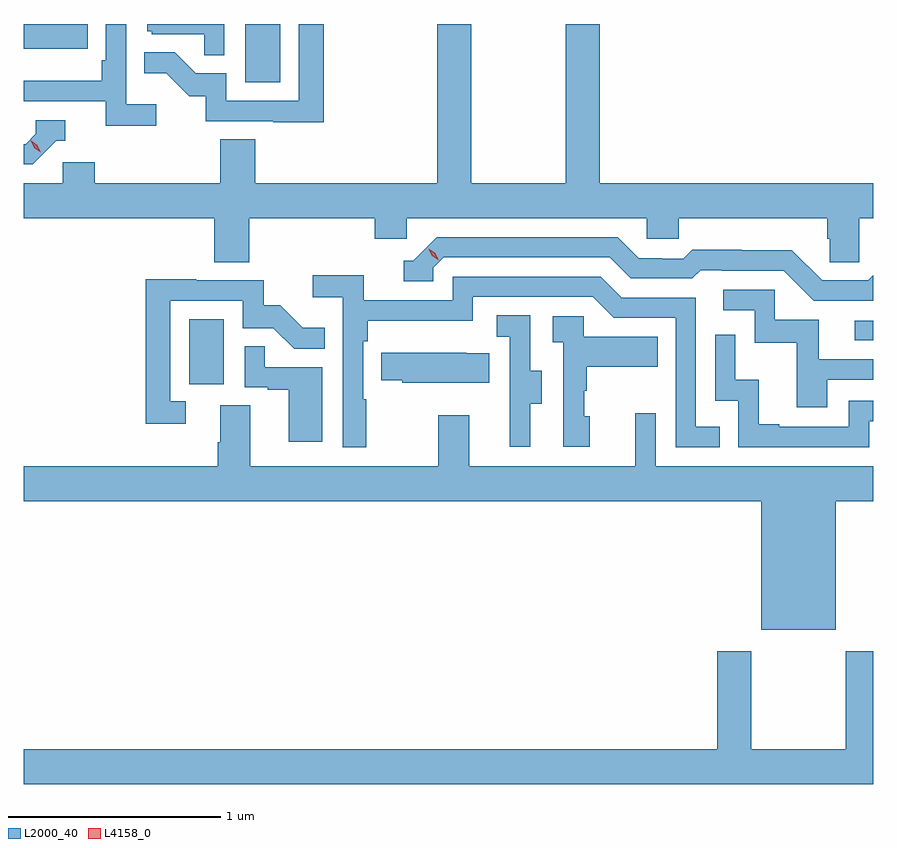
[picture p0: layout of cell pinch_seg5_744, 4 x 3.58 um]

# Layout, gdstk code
import gdstk
lib = gdstk.Library(unit=1e-6, precision=1e-09)
def R(c, l, rs):  # rectangles x0, y0, x1, y1
    for r in rs: c.add(gdstk.rectangle(r[:2], r[2:], *l))
def P(c, l, *ps):  # polygons
    for p in ps: c.add(gdstk.Polygon(p, *l))
L2000_40 = (2000, 40)
L4158_0 = (4158, 0)

pinch_seg5_744 = lib.new_cell('pinch_seg5_744')
R(pinch_seg5_744, L2000_40, [(880.826,913.254,880.99,913.561), (883.959,913.461,884.047,913.554), (881.09,914.676,881.254,914.95), (880.047,914.834,880.349,914.95)])
P(pinch_seg5_744, L2000_40, [(880.672,914.572),(880.53,914.572),(880.53,914.95),(880.434,914.95),(880.434,914.779),(880.414,914.779),(880.414,914.683),(880.047,914.683),(880.047,914.586),(880.433,914.586),(880.433,914.47),(880.672,914.47)],
  [(880.992,914.95),(880.628,914.95),(880.628,914.916),(880.65,914.916),(880.65,914.901),(880.897,914.901),(880.897,914.803),(880.992,914.803)],
  [(881.459,914.95),(881.343,914.95),(881.343,914.589),(881.001,914.589),(881.001,914.718),(880.857,914.718),(880.759,914.816),(880.615,914.816),(880.615,914.717),(880.719,914.717),(880.826,914.61),(880.903,914.61),(880.903,914.493),(881.221,914.493),(881.221,914.488),(881.459,914.488)],
  [(880.943,913.828),(881.108,913.828),(881.108,914.036),(881.699,914.036),(881.699,913.938),(881.85,913.938),(881.85,914.036),(882.981,914.036),(882.981,913.938),(883.131,913.938),(883.131,914.036),(883.829,914.036),(883.829,913.938),(883.843,913.938),(883.843,913.828),(883.98,913.828),(883.98,914.036),(884.047,914.036),(884.047,914.2),(882.758,914.2),(882.758,914.95),(882.598,914.95),(882.598,914.2),(882.153,914.2),(882.153,914.95),(881.993,914.95),(881.993,914.2),(881.138,914.2),(881.138,914.408),(880.973,914.408),(880.973,914.2),(880.382,914.2),(880.382,914.298),(880.23,914.298),(880.23,914.2),(880.047,914.2),(880.047,914.036),(880.943,914.036)],
  [(880.2,914.4),(880.243,914.4),(880.243,914.496),(880.104,914.496),(880.104,914.433),(880.056,914.385),(880.047,914.385),(880.047,914.289),(880.089,914.289)],
  [(884.047,913.768),(884.022,913.743),(883.806,913.743),(883.664,913.885),(883.428,913.885),(883.428,913.888),(883.195,913.888),(883.153,913.845),(883.05,913.845),(883.05,913.848),(882.943,913.848),(882.844,913.947),(881.991,913.947),(881.88,913.836),(881.837,913.836),(881.837,913.74),(881.976,913.74),(881.976,913.803),(882.024,913.851),(882.807,913.851),(882.906,913.752),(883.195,913.752),(883.234,913.791),(883.333,913.791),(883.333,913.788),(883.626,913.788),(883.767,913.647),(884.047,913.647)],
  [(881.659,913.184),(881.646,913.184),(881.646,913.457),(881.666,913.457),(881.666,913.553),(882.162,913.553),(882.162,913.665),(882.726,913.665),(882.825,913.566),(883.116,913.566),(883.116,912.957),(883.325,912.957),(883.325,913.053),(883.212,913.053),(883.212,913.662),(882.862,913.662),(882.763,913.761),(882.066,913.761),(882.066,913.65),(881.648,913.65),(881.648,913.766),(881.409,913.766),(881.409,913.664),(881.55,913.664),(881.55,912.957),(881.659,912.957)],
  [(880.81,913.173),(880.737,913.173),(880.737,913.647),(881.079,913.647),(881.079,913.518),(881.223,913.518),(881.321,913.42),(881.465,913.42),(881.465,913.519),(881.361,913.519),(881.254,913.626),(881.178,913.626),(881.178,913.743),(880.859,913.743),(880.859,913.748),(880.621,913.748),(880.621,913.068),(880.81,913.068)],
  [(883.831,913.275),(884.047,913.275),(884.047,913.371),(883.789,913.371),(883.789,913.557),(883.584,913.557),(883.584,913.698),(883.341,913.698),(883.341,913.602),(883.488,913.602),(883.488,913.449),(883.687,913.449),(883.687,913.146),(883.831,913.146)],
  [(882.433,913.162),(882.487,913.162),(882.487,913.317),(882.432,913.317),(882.432,913.58),(882.273,913.58),(882.273,913.477),(882.336,913.477),(882.336,913.173),(882.335,913.173),(882.335,912.96),(882.433,912.96)],
  [(882.712,913.104),(882.687,913.104),(882.687,913.223),(882.697,913.223),(882.697,913.337),(883.031,913.337),(883.031,913.477),(882.684,913.477),(882.684,913.575),(882.537,913.575),(882.537,913.451),(882.588,913.451),(882.588,912.96),(882.712,912.96)],
  [(884.028,913.08),(884.047,913.08),(884.047,913.176),(883.932,913.176),(883.932,913.053),(883.603,913.053),(883.603,913.066),(883.508,913.066),(883.508,913.274),(883.398,913.274),(883.398,913.486),(883.302,913.486),(883.302,913.176),(883.41,913.176),(883.41,912.957),(884.028,912.957)],
  [(881.452,913.335),(881.183,913.335),(881.183,913.433),(881.088,913.433),(881.088,913.239),(881.195,913.239),(881.195,913.227),(881.294,913.227),(881.294,912.984),(881.452,912.984)],
  [(882.239,913.399),(882.131,913.399),(882.131,913.402),(881.731,913.402),(881.731,913.273),(881.829,913.273),(881.829,913.262),(882.239,913.262)],
  [(883.87,912.704),(884.047,912.704),(884.047,912.868),(883.023,912.868),(883.023,913.117),(882.926,913.117),(882.926,912.868),(882.145,912.868),(882.145,913.108),(881.998,913.108),(881.998,912.868),(881.113,912.868),(881.113,913.154),(880.973,913.154),(880.973,912.98),(880.961,912.98),(880.961,912.868),(880.047,912.868),(880.047,912.704),(883.52,912.704),(883.52,912.098),(883.87,912.098)],
  [(884.047,911.998),(883.918,911.998),(883.918,911.536),(883.473,911.536),(883.473,911.998),(883.313,911.998),(883.313,911.536),(880.047,911.536),(880.047,911.372),(884.047,911.372)])
P(pinch_seg5_744, L4158_0, [(880.127,914.347),(880.097,914.367),(880.081,914.4),(880.081,914.4),(880.082,914.4),(880.112,914.38),(880.127,914.347),(880.127,914.347)],
  [(882.001,913.838),(881.97,913.858),(881.955,913.89),(881.955,913.891),(881.955,913.891),(881.985,913.871),(882.001,913.838),(882.001,913.838)])

lib.write_gds('pinch_seg5_744.gds')
